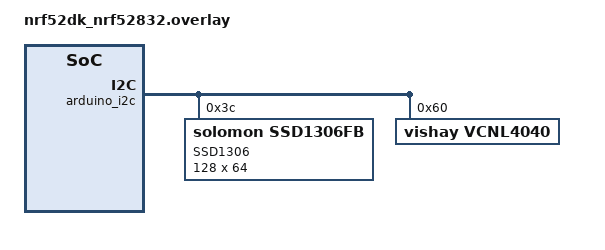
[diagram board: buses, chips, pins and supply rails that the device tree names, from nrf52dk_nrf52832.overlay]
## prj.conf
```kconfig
# Enable GPIO support
CONFIG_GPIO=y

# Memory and Stack Configuration
CONFIG_HEAP_MEM_POOL_SIZE=16384
CONFIG_MAIN_STACK_SIZE=4096

# Debugging and Assertions
CONFIG_DEBUG_OPTIMIZATIONS=y
CONFIG_ASSERT=y

# Enable I2C support
CONFIG_I2C=y

# Display Configuration
CONFIG_DISPLAY=y
# CONFIG_DISPLAY_LOG_LEVEL_DBG=y

# Enable Logging
# CONFIG_LOG=y

# SSD1306 OLED Display Driver
CONFIG_SSD1306=y
# CONFIG_SSD1306_SH1106_COMPATIBLE=n
CONFIG_SSD1306_DEFAULT_CONTRAST=128

# Console Configuration
CONFIG_CONSOLE=y
# Character Framebuffer
CONFIG_CHARACTER_FRAMEBUFFER=y

#VCNL
CONFIG_SENSOR=y
CONFIG_VCNL4040=y
CONFIG_VCNL4040_ENABLE_ALS=y
```

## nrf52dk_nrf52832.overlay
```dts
&arduino_i2c {
	status = "okay";
	compatible = "nordic,nrf-twi";

	ssd1306_ssd1306_128x64_I2C: ssd1306@3c {
		compatible = "solomon,ssd1306fb";
		reg = <0x3c>;
		label = "SSD1306";
		width = <128>;
		height = <64>;
		segment-offset = <0>;
		page-offset = <0>;
		display-offset = <0>;
		multiplex-ratio = <63>;
		segment-remap;
		com-invdir;
		prechargep = <0x22>;
	};

	vcnl4040@60 {
		status = "okay";
		compatible = "vishay,vcnl4040";
		reg = <0x60>;
		led-current = <200>;
		led-duty-cycle = <320>;
	};
};
/* For Node Configuration only*/

// &pinctrl {
// 	i2c0_default: i2c0_default {
// 		group1 {
// 			psels = <NRF_PSEL(TWIM_SDA, 0, 26)>,  
// 				<NRF_PSEL(TWIM_SCL, 0, 25)>;      
// 		};
// 	};

// 	i2c0_sleep: i2c0_sleep {
// 		group1 {
// 			psels = <NRF_PSEL(TWIM_SDA, 0, 26)>,   
// 				<NRF_PSEL(TWIM_SCL, 0, 25)>;        
// 			low-power-enable;
// 		};
// 	};
// };
```

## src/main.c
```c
#include <zephyr/kernel.h>          // Zephyr kernel APIs for scheduling and timing
#include <zephyr/device.h>          // Zephyr device management APIs
#include <zephyr/drivers/display.h> // Zephyr display operations APIs
#include <zephyr/display/cfb.h>     // Zephyr character framebuffer APIs for OLED
#include <zephyr/drivers/sensor.h>  // Zephyr sensor operations APIs
#include <stdio.h>

/* Sleep duration in milliseconds */
#define SLEEP_DURATION_MS 1000
int counter=0;

void main(void)
{
    // Get device handles
    const struct device *oled_dev = device_get_binding("SSD1306");  // OLED display device
    const struct device *vcnl = DEVICE_DT_GET_ANY(vishay_vcnl4040); // VCNL4040 sensor
    struct sensor_value val;                                        // Variable to hold sensor data

    // Initialize OLED display
    if (!oled_dev)
    {
        printk("OLED Display: Device not found\n"); // Error if OLED not found
        return;
    }

    // Set pixel format and initialize framebuffer
    if (display_set_pixel_format(oled_dev, PIXEL_FORMAT_MONO10) != 0 || cfb_framebuffer_init(oled_dev) != 0)
    {
        printk("OLED Display: Initialization failed\n"); // Error if initialization fails
        return;
    }

    // Clear display and set properties
    cfb_framebuffer_clear(oled_dev, true);
    cfb_framebuffer_invert(oled_dev);
    display_blanking_off(oled_dev);

    // Get font size and display dimensions
    uint8_t font_width, font_height;
    cfb_get_font_size(oled_dev, 0, &font_width, &font_height);
    uint16_t display_width = cfb_get_display_parameter(oled_dev, CFB_DISPLAY_WIDTH);
    uint16_t display_height = cfb_get_display_parameter(oled_dev, CFB_DISPLAY_HEIGH);

    // Check if sensor is ready
    if (!device_is_ready(vcnl))
    {
        printk("Sensor: device not ready.\n"); // Error if sensor not ready
        return;
    }

    // Finalize initial framebuffer setup
    cfb_framebuffer_finalize(oled_dev);

    while (1) // Continuous loop to fetch and display sensor data
    {
        if (sensor_sample_fetch(vcnl) == 0) // Fetch sensor sample
        {
            if (sensor_channel_get(vcnl, SENSOR_CHAN_LIGHT, &val) == 0) // Get light intensity
            {
                // Prepare string for lux value
                char lux_str[16];
                snprintf(lux_str, sizeof(lux_str), "Lux: %d", val.val1);

                // Clear area where lux value will be displayed
                cfb_framebuffer_clear(oled_dev, false);

                // Calculate position for lux value
                uint16_t value_width = strlen(lux_str) * font_width;
                uint16_t value_start_x = (display_width - value_width) / 2;
                uint16_t value_start_y = (display_height - font_height) / 2;

                // Print lux value on display
                if (cfb_print(oled_dev, lux_str, value_start_x, value_start_y))
                {
                    printk("OLED Display: Failed to print Lux value\n"); // Error if printing fails
                }

                // Finalize framebuffer update
                cfb_framebuffer_finalize(oled_dev);
                printk("Time %d Sec\n",counter);
                counter++;
            }
            else
            {
                printk("Sensor read error.\n"); // Error if sensor read fails
            }
        }
        else
        {
            printk("Sensor sample fetch error.\n"); // Error if sample fetch fails
        }

        k_msleep(SLEEP_DURATION_MS); // Wait before next update
    }
}
```
